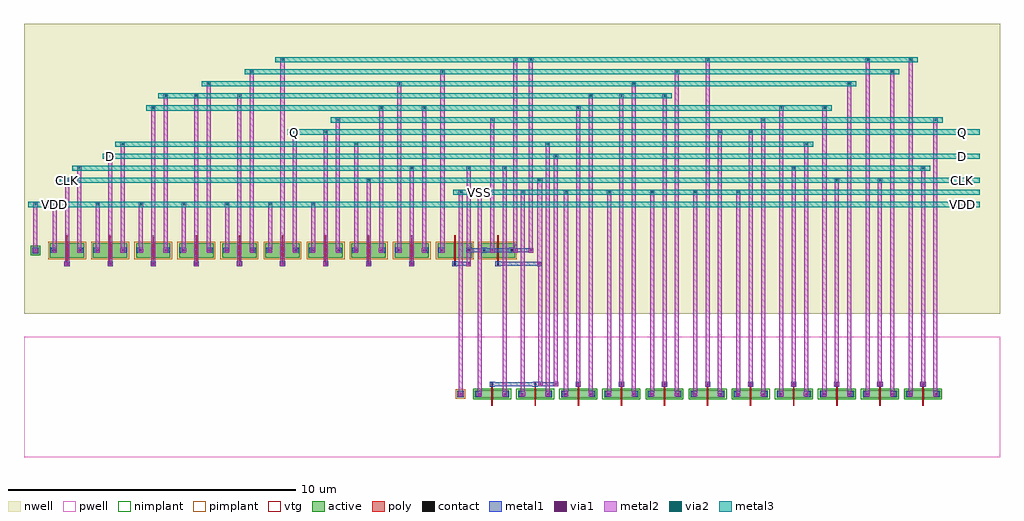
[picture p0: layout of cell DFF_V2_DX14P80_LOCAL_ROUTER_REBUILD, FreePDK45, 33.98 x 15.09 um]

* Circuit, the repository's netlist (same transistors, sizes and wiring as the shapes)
* cell DFF_V2_DX14P80_LOCAL_ROUTER_REBUILD
* pin CLK,D
* pin Q
* pin VDD
* pin VSS
.SUBCKT DFF_V2_DX14P80_LOCAL_ROUTER_REBUILD 1 8 10 11
* net 1 CLK,D
* net 8 Q
* net 10 VDD
* net 11 VSS
* device instance $1 r0 *1 16.2,7 PMOS_VTG
M$1 9 1 9 10 PMOS_VTG L=0.05U W=0.5U AS=0.2875P AD=0.2875P PS=2.15U PD=2.15U
* device instance $2 r0 *1 14.7,7 PMOS_VTG
M$2 9 3 6 10 PMOS_VTG L=0.05U W=0.5U AS=0.2875P AD=0.2875P PS=2.15U PD=2.15U
* device instance $3 r0 *1 13.2,7 PMOS_VTG
M$3 2 3 5 10 PMOS_VTG L=0.05U W=0.5U AS=0.2875P AD=0.2875P PS=2.15U PD=2.15U
* device instance $4 r0 *1 11.7,7 PMOS_VTG
M$4 2 1 7 10 PMOS_VTG L=0.05U W=0.5U AS=0.2875P AD=0.2875P PS=2.15U PD=2.15U
* device instance $5 r0 *1 10.2,7 PMOS_VTG
M$5 9 8 10 10 PMOS_VTG L=0.05U W=0.5U AS=0.2875P AD=0.2875P PS=2.15U PD=2.15U
* device instance $6 r0 *1 2.7,7 PMOS_VTG
M$6 7 1 10 10 PMOS_VTG L=0.05U W=0.5U AS=0.2875P AD=0.2875P PS=2.15U PD=2.15U
* device instance $7 r0 *1 1.2,7 PMOS_VTG
M$7 3 1 10 10 PMOS_VTG L=0.05U W=0.5U AS=0.2875P AD=0.2875P PS=2.15U PD=2.15U
* device instance $8 r0 *1 8.7,7 PMOS_VTG
M$8 8 9 10 10 PMOS_VTG L=0.05U W=0.5U AS=0.2875P AD=0.2875P PS=2.15U PD=2.15U
* device instance $9 r0 *1 4.2,7 PMOS_VTG
M$9 4 2 10 10 PMOS_VTG L=0.05U W=0.5U AS=0.2875P AD=0.2875P PS=2.15U PD=2.15U
* device instance $10 r0 *1 7.2,7 PMOS_VTG
M$10 6 4 10 10 PMOS_VTG L=0.05U W=0.5U AS=0.2875P AD=0.2875P PS=2.15U PD=2.15U
* device instance $11 r0 *1 5.7,7 PMOS_VTG
M$11 5 4 10 10 PMOS_VTG L=0.05U W=0.5U AS=0.2875P AD=0.2875P PS=2.15U PD=2.15U
* device instance $12 r0 *1 29.5,2 NMOS_VTG
M$12 6 1 9 11 NMOS_VTG L=0.05U W=0.25U AS=0.14375P AD=0.14375P PS=1.65U PD=1.65U
* device instance $13 r0 *1 26.5,2 NMOS_VTG
M$13 7 3 2 11 NMOS_VTG L=0.05U W=0.25U AS=0.14375P AD=0.14375P PS=1.65U PD=1.65U
* device instance $14 r0 *1 25,2 NMOS_VTG
M$14 9 8 11 11 NMOS_VTG L=0.05U W=0.25U AS=0.14375P AD=0.14375P PS=1.65U
+ PD=1.65U
* device instance $15 r0 *1 19,2 NMOS_VTG
M$15 4 2 11 11 NMOS_VTG L=0.05U W=0.25U AS=0.14375P AD=0.14375P PS=1.65U
+ PD=1.65U
* device instance $16 r0 *1 16,2 NMOS_VTG
M$16 3 1 11 11 NMOS_VTG L=0.05U W=0.25U AS=0.14375P AD=0.14375P PS=1.65U
+ PD=1.65U
* device instance $17 r0 *1 28,2 NMOS_VTG
M$17 5 1 2 11 NMOS_VTG L=0.05U W=0.25U AS=0.14375P AD=0.14375P PS=1.65U PD=1.65U
* device instance $18 r0 *1 17.5,2 NMOS_VTG
M$18 7 1 11 11 NMOS_VTG L=0.05U W=0.25U AS=0.14375P AD=0.14375P PS=1.65U
+ PD=1.65U
* device instance $19 r0 *1 31,2 NMOS_VTG
M$19 9 3 9 11 NMOS_VTG L=0.05U W=0.25U AS=0.14375P AD=0.14375P PS=1.65U PD=1.65U
* device instance $20 r0 *1 20.5,2 NMOS_VTG
M$20 5 4 11 11 NMOS_VTG L=0.05U W=0.25U AS=0.14375P AD=0.14375P PS=1.65U
+ PD=1.65U
* device instance $21 r0 *1 22,2 NMOS_VTG
M$21 6 4 11 11 NMOS_VTG L=0.05U W=0.25U AS=0.14375P AD=0.14375P PS=1.65U
+ PD=1.65U
* device instance $22 r0 *1 23.5,2 NMOS_VTG
M$22 8 9 11 11 NMOS_VTG L=0.05U W=0.25U AS=0.14375P AD=0.14375P PS=1.65U
+ PD=1.65U
.ENDS DFF_V2_DX14P80_LOCAL_ROUTER_REBUILD

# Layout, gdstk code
import gdstk
lib = gdstk.Library(unit=1e-6, precision=5e-10)
def R(c, l, rs):  # rectangles x0, y0, x1, y1
    for r in rs: c.add(gdstk.rectangle(r[:2], r[2:], *l))
def A(c, l, x, y, w, h, nx, ny, dx, dy):  # array of equal rectangles
    R(c, l, [(x+i*dx, y+j*dy, x+i*dx+w, y+j*dy+h) for i in range(nx) for j in range(ny)])
active = (1, 0)
pwell = (2, 0)
nwell = (3, 0)
nimplant = (4, 0)
pimplant = (5, 0)
vtg = (6, 0)
poly = (9, 0)
contact = (10, 0)
metal1 = (11, 0)
via1 = (12, 0)
metal2 = (13, 0)
via2 = (14, 0)
metal3 = (15, 0)

dff_v2_dx14p80_local_rou = lib.new_cell('DFF_V2_DX14P80_LOCAL_ROUTER_REBUILD')
A(dff_v2_dx14p80_local_rou, active, 15.4, 1.875, 1.2, 0.25, 11, 1, 1.5, 0)
A(dff_v2_dx14p80_local_rou, active, 0.6, 6.75, 1.2, 0.5, 11, 1, 1.5, 0)
R(dff_v2_dx14p80_local_rou, active, [(14.79,1.89,15.01,2.11), (-0.01,6.89,0.21,7.11)])
R(dff_v2_dx14p80_local_rou, pwell, [(-0.3,-0.2,33.68,4)])
R(dff_v2_dx14p80_local_rou, nwell, [(-0.3,4.8,33.68,14.89)])
A(dff_v2_dx14p80_local_rou, nimplant, 15.34, 1.815, 1.32, 0.37, 11, 1, 1.5, 0)
R(dff_v2_dx14p80_local_rou, nimplant, [(-0.06,6.84,0.26,7.16)])
A(dff_v2_dx14p80_local_rou, pimplant, 0.54, 6.69, 1.32, 0.62, 11, 1, 1.5, 0)
R(dff_v2_dx14p80_local_rou, pimplant, [(14.74,1.84,15.06,2.16)])
A(dff_v2_dx14p80_local_rou, vtg, 15.965, 1.845, 0.07, 0.31, 11, 1, 1.5, 0)
A(dff_v2_dx14p80_local_rou, vtg, 1.165, 6.72, 0.07, 0.56, 11, 1, 1.5, 0)
A(dff_v2_dx14p80_local_rou, poly, 15.975, 1.595, 0.05, 0.81, 11, 1, 1.5, 0)
A(dff_v2_dx14p80_local_rou, poly, 1.175, 6.47, 0.05, 1.06, 11, 1, 1.5, 0)
A(dff_v2_dx14p80_local_rou, contact, 15.97, 2.315, 0.065, 0.065, 11, 1, 1.5, 0)
A(dff_v2_dx14p80_local_rou, contact, 1.17, 6.5, 0.065, 0.065, 11, 1, 1.5, 0)
R(dff_v2_dx14p80_local_rou, contact, [(14.87,1.97,14.935,2.035), (15.49,1.97,15.555,2.035), (16.45,1.97,16.515,2.035), (16.99,1.97,17.055,2.035), (17.95,1.97,18.015,2.035), (18.49,1.97,18.555,2.035), (19.45,1.97,19.515,2.035), (19.99,1.97,20.055,2.035), (20.95,1.97,21.015,2.035), (21.49,1.97,21.555,2.035), (22.45,1.97,22.515,2.035), (22.99,1.97,23.055,2.035), (23.95,1.97,24.015,2.035), (24.49,1.97,24.555,2.035), (25.45,1.97,25.515,2.035), (25.99,1.97,26.055,2.035), (26.95,1.97,27.015,2.035), (27.49,1.97,27.555,2.035), (28.45,1.97,28.515,2.035), (28.99,1.97,29.055,2.035), (29.95,1.97,30.015,2.035), (30.49,1.97,30.555,2.035), (31.45,1.97,31.515,2.035), (0.07,6.97,0.135,7.035), (0.69,6.97,0.755,7.035), (1.65,6.97,1.715,7.035), (2.19,6.97,2.255,7.035), (3.15,6.97,3.215,7.035), (3.69,6.97,3.755,7.035), (4.65,6.97,4.715,7.035), (5.19,6.97,5.255,7.035), (6.15,6.97,6.215,7.035), (6.69,6.97,6.755,7.035), (7.65,6.97,7.715,7.035), (8.19,6.97,8.255,7.035), (9.15,6.97,9.215,7.035), (9.69,6.97,9.755,7.035), (10.65,6.97,10.715,7.035), (11.19,6.97,11.255,7.035), (12.15,6.97,12.215,7.035), (12.69,6.97,12.755,7.035), (13.65,6.97,13.715,7.035), (14.19,6.97,14.255,7.035), (15.15,6.97,15.215,7.035), (15.69,6.97,15.755,7.035), (16.65,6.97,16.715,7.035)])
A(dff_v2_dx14p80_local_rou, metal1, 15.91, 2.255, 0.18, 0.18, 11, 1, 1.5, 0)
A(dff_v2_dx14p80_local_rou, metal1, 18.925, 2.27, 0.15, 0.15, 9, 1, 1.5, 0)
A(dff_v2_dx14p80_local_rou, metal1, 1.11, 6.44, 0.18, 0.18, 11, 1, 1.5, 0)
A(dff_v2_dx14p80_local_rou, metal1, 1.125, 6.455, 0.15, 0.15, 9, 1, 1.5, 0)
R(dff_v2_dx14p80_local_rou, metal1, [(14.8,1.9,15,2.1), (15.43,1.91,15.61,2.09), (16.39,1.91,16.57,2.09), (16.93,1.91,17.11,2.09), (17.89,1.91,18.07,2.09), (18.43,1.91,18.61,2.09), (19.39,1.91,19.57,2.09), (19.93,1.91,20.11,2.09), (20.89,1.91,21.07,2.09), (21.43,1.91,21.61,2.09), (22.39,1.91,22.57,2.09), (22.93,1.91,23.11,2.09), (23.89,1.91,24.07,2.09), (24.43,1.91,24.61,2.09), (25.39,1.91,25.57,2.09), (25.93,1.91,26.11,2.09), (26.89,1.91,27.07,2.09), (27.43,1.91,27.61,2.09), (28.39,1.91,28.57,2.09), (28.93,1.91,29.11,2.09), (29.89,1.91,30.07,2.09), (30.43,1.91,30.61,2.09), (31.39,1.91,31.57,2.09), (14.825,1.925,14.975,2.075), (14.825,1.925,14.975,2.075), (14.825,1.925,14.975,2.075), (14.825,1.925,14.975,2.075), (14.825,1.925,14.975,2.075), (14.825,1.925,14.975,2.075), (14.825,1.925,14.975,2.075), (14.825,1.925,14.975,2.075), (14.825,1.925,14.975,2.075), (14.825,1.925,14.975,2.075), (14.825,1.925,14.975,2.075), (14.825,1.925,14.975,2.075), (15.495,1.925,15.645,2.075), (16.355,1.925,16.505,2.075), (16.995,1.925,17.145,2.075), (17.855,1.925,18.005,2.075), (18.495,1.925,18.645,2.075), (19.355,1.925,19.505,2.075), (19.995,1.925,20.145,2.075), (20.855,1.925,21.005,2.075), (21.495,1.925,21.645,2.075), (22.355,1.925,22.505,2.075), (22.995,1.925,23.145,2.075), (23.855,1.925,24.005,2.075), (24.495,1.925,24.645,2.075), (25.355,1.925,25.505,2.075), (25.995,1.925,26.145,2.075), (26.855,1.925,27.005,2.075), (27.495,1.925,27.645,2.075), (28.355,1.925,28.505,2.075), (28.995,1.925,29.145,2.075), (29.855,1.925,30.005,2.075), (30.495,1.925,30.645,2.075), (31.355,1.925,31.505,2.075), (17.605,2.27,17.755,2.42), (18.145,2.27,18.295,2.42), (16,2.275,17.68,2.415), (17.5,2.275,18.22,2.415), (15.105,6.455,15.255,6.605), (17.565,6.455,17.715,6.605), (14.7,6.46,15.18,6.6), (16.2,6.46,17.64,6.6), (0,6.9,0.2,7.1), (0.63,6.91,0.81,7.09), (1.59,6.91,1.77,7.09), (2.13,6.91,2.31,7.09), (3.09,6.91,3.27,7.09), (3.63,6.91,3.81,7.09), (4.59,6.91,4.77,7.09), (5.13,6.91,5.31,7.09), (6.09,6.91,6.27,7.09), (6.63,6.91,6.81,7.09), (7.59,6.91,7.77,7.09), (8.13,6.91,8.31,7.09), (9.09,6.91,9.27,7.09), (9.63,6.91,9.81,7.09), (10.59,6.91,10.77,7.09), (11.13,6.91,11.31,7.09), (12.09,6.91,12.27,7.09), (12.63,6.91,12.81,7.09), (13.59,6.91,13.77,7.09), (14.13,6.91,14.31,7.09), (15.09,6.91,15.27,7.09), (15.63,6.91,15.81,7.09), (16.59,6.91,16.77,7.09), (0.025,6.925,0.175,7.075), (0.025,6.925,0.175,7.075), (0.025,6.925,0.175,7.075), (0.025,6.925,0.175,7.075), (0.025,6.925,0.175,7.075), (0.025,6.925,0.175,7.075), (0.025,6.925,0.175,7.075), (0.025,6.925,0.175,7.075), (0.025,6.925,0.175,7.075), (0.025,6.925,0.175,7.075), (0.025,6.925,0.175,7.075), (0.025,6.925,0.175,7.075), (0.695,6.925,0.845,7.075), (1.555,6.925,1.705,7.075), (2.195,6.925,2.345,7.075), (3.055,6.925,3.205,7.075), (3.695,6.925,3.845,7.075), (4.555,6.925,4.705,7.075), (5.195,6.925,5.345,7.075), (6.055,6.925,6.205,7.075), (6.695,6.925,6.845,7.075), (7.555,6.925,7.705,7.075), (8.195,6.925,8.345,7.075), (9.055,6.925,9.205,7.075), (9.695,6.925,9.845,7.075), (10.555,6.925,10.705,7.075), (11.195,6.925,11.345,7.075), (12.055,6.925,12.205,7.075), (12.695,6.925,12.845,7.075), (13.555,6.925,13.705,7.075), (14.195,6.925,14.345,7.075), (15.935,6.925,16.085,7.075), (16.735,6.925,16.885,7.075), (17.275,6.925,17.425,7.075), (15.13,6.93,16.81,7.07), (15.77,6.93,16.01,7.07), (16.63,6.93,17.35,7.07)])
A(dff_v2_dx14p80_local_rou, via1, 18.97, 2.315, 0.065, 0.065, 9, 1, 1.5, 0)
A(dff_v2_dx14p80_local_rou, via1, 1.17, 6.5, 0.065, 0.065, 9, 1, 1.5, 0)
R(dff_v2_dx14p80_local_rou, via1, [(14.87,1.97,14.935,2.035), (14.87,1.97,14.935,2.035), (14.87,1.97,14.935,2.035), (14.87,1.97,14.935,2.035), (14.87,1.97,14.935,2.035), (14.87,1.97,14.935,2.035), (14.87,1.97,14.935,2.035), (14.87,1.97,14.935,2.035), (14.87,1.97,14.935,2.035), (14.87,1.97,14.935,2.035), (14.87,1.97,14.935,2.035), (14.87,1.97,14.935,2.035), (15.54,1.97,15.605,2.035), (16.4,1.97,16.465,2.035), (17.04,1.97,17.105,2.035), (17.9,1.97,17.965,2.035), (18.54,1.97,18.605,2.035), (19.4,1.97,19.465,2.035), (20.04,1.97,20.105,2.035), (20.9,1.97,20.965,2.035), (21.54,1.97,21.605,2.035), (22.4,1.97,22.465,2.035), (23.04,1.97,23.105,2.035), (23.9,1.97,23.965,2.035), (24.54,1.97,24.605,2.035), (25.4,1.97,25.465,2.035), (26.04,1.97,26.105,2.035), (26.9,1.97,26.965,2.035), (27.54,1.97,27.605,2.035), (28.4,1.97,28.465,2.035), (29.04,1.97,29.105,2.035), (29.9,1.97,29.965,2.035), (30.54,1.97,30.605,2.035), (31.4,1.97,31.465,2.035), (17.65,2.315,17.715,2.38), (18.19,2.315,18.255,2.38), (15.15,6.5,15.215,6.565), (17.61,6.5,17.675,6.565), (0.07,6.97,0.135,7.035), (0.07,6.97,0.135,7.035), (0.07,6.97,0.135,7.035), (0.07,6.97,0.135,7.035), (0.07,6.97,0.135,7.035), (0.07,6.97,0.135,7.035), (0.07,6.97,0.135,7.035), (0.07,6.97,0.135,7.035), (0.07,6.97,0.135,7.035), (0.07,6.97,0.135,7.035), (0.07,6.97,0.135,7.035), (0.07,6.97,0.135,7.035), (0.74,6.97,0.805,7.035), (1.6,6.97,1.665,7.035), (2.24,6.97,2.305,7.035), (3.1,6.97,3.165,7.035), (3.74,6.97,3.805,7.035), (4.6,6.97,4.665,7.035), (5.24,6.97,5.305,7.035), (6.1,6.97,6.165,7.035), (6.74,6.97,6.805,7.035), (7.6,6.97,7.665,7.035), (8.24,6.97,8.305,7.035), (9.1,6.97,9.165,7.035), (9.74,6.97,9.805,7.035), (10.6,6.97,10.665,7.035), (11.24,6.97,11.305,7.035), (12.1,6.97,12.165,7.035), (12.74,6.97,12.805,7.035), (13.6,6.97,13.665,7.035), (14.24,6.97,14.305,7.035), (15.98,6.97,16.045,7.035), (16.78,6.97,16.845,7.035), (17.32,6.97,17.385,7.035)])
A(dff_v2_dx14p80_local_rou, metal2, 15.5, 2, 0.14, 7.02, 7, 1, 1.5, 0)
A(dff_v2_dx14p80_local_rou, metal2, 18.925, 2.27, 0.15, 0.15, 9, 1, 1.5, 0)
A(dff_v2_dx14p80_local_rou, metal2, 1.125, 6.455, 0.15, 0.15, 9, 1, 1.5, 0)
A(dff_v2_dx14p80_local_rou, metal2, 0.7, 7, 0.14, 1.6, 7, 1, 1.5, 0)
A(dff_v2_dx14p80_local_rou, metal2, 0.695, 8.525, 0.15, 0.15, 7, 1, 1.5, 0)
A(dff_v2_dx14p80_local_rou, metal2, 15.495, 8.945, 0.15, 0.15, 7, 1, 1.5, 0)
R(dff_v2_dx14p80_local_rou, metal2, [(14.825,1.925,14.975,2.075), (14.825,1.925,14.975,2.075), (14.825,1.925,14.975,2.075), (14.825,1.925,14.975,2.075), (14.825,1.925,14.975,2.075), (14.825,1.925,14.975,2.075), (14.825,1.925,14.975,2.075), (14.825,1.925,14.975,2.075), (14.825,1.925,14.975,2.075), (14.825,1.925,14.975,2.075), (14.825,1.925,14.975,2.075), (14.825,1.925,14.975,2.075), (15.495,1.925,15.645,2.075), (16.355,1.925,16.505,2.075), (16.995,1.925,17.145,2.075), (17.855,1.925,18.005,2.075), (18.495,1.925,18.645,2.075), (19.355,1.925,19.505,2.075), (19.995,1.925,20.145,2.075), (20.855,1.925,21.005,2.075), (21.495,1.925,21.645,2.075), (22.355,1.925,22.505,2.075), (22.995,1.925,23.145,2.075), (23.855,1.925,24.005,2.075), (24.495,1.925,24.645,2.075), (25.355,1.925,25.505,2.075), (25.995,1.925,26.145,2.075), (26.855,1.925,27.005,2.075), (27.495,1.925,27.645,2.075), (28.355,1.925,28.505,2.075), (28.995,1.925,29.145,2.075), (29.855,1.925,30.005,2.075), (30.495,1.925,30.645,2.075), (31.355,1.925,31.505,2.075), (14.83,2,14.97,9.02), (14.83,2,14.97,9.02), (14.83,2,14.97,9.02), (14.83,2,14.97,9.02), (14.83,2,14.97,9.02), (14.83,2,14.97,9.02), (14.83,2,14.97,9.02), (14.83,2,14.97,9.02), (14.83,2,14.97,9.02), (14.83,2,14.97,9.02), (14.83,2,14.97,9.02), (14.83,2,14.97,9.02), (16.36,2,16.5,9.86), (17.86,2,18,10.7), (19.36,2,19.5,12.38), (20.86,2,21,12.8), (22.36,2,22.5,13.22), (23.86,2,24,11.12), (25.36,2,25.5,11.54), (26,2,26.14,11.96), (26.86,2,27,10.7), (27.5,2,27.64,11.96), (28.36,2,28.5,12.8), (29,2,29.14,13.64), (29.86,2,30,13.22), (30.5,2,30.64,13.64), (31.36,2,31.5,11.54), (17.605,2.27,17.755,2.42), (18.145,2.27,18.295,2.42), (17.61,2.345,17.75,9.44), (18.15,2.345,18.29,10.28), (18.93,2.345,19.07,11.96), (20.43,2.345,20.57,12.38), (21.93,2.345,22.07,12.38), (23.43,2.345,23.57,13.64), (24.93,2.345,25.07,11.12), (26.43,2.345,26.57,9.86), (27.93,2.345,28.07,9.44), (29.43,2.345,29.57,9.44), (30.93,2.345,31.07,9.86), (15.105,6.455,15.255,6.605), (17.565,6.455,17.715,6.605), (1.13,6.53,1.27,9.44), (2.63,6.53,2.77,10.28), (4.13,6.53,4.27,11.96), (5.63,6.53,5.77,12.38), (7.13,6.53,7.27,12.38), (8.63,6.53,8.77,13.64), (10.13,6.53,10.27,11.12), (11.63,6.53,11.77,9.44), (13.13,6.53,13.27,9.86), (15.11,6.53,15.25,9.86), (17.57,6.53,17.71,9.44), (0.025,6.925,0.175,7.075), (0.025,6.925,0.175,7.075), (0.025,6.925,0.175,7.075), (0.025,6.925,0.175,7.075), (0.025,6.925,0.175,7.075), (0.025,6.925,0.175,7.075), (0.025,6.925,0.175,7.075), (0.025,6.925,0.175,7.075), (0.025,6.925,0.175,7.075), (0.025,6.925,0.175,7.075), (0.025,6.925,0.175,7.075), (0.025,6.925,0.175,7.075), (0.695,6.925,0.845,7.075), (1.555,6.925,1.705,7.075), (2.195,6.925,2.345,7.075), (3.055,6.925,3.205,7.075), (3.695,6.925,3.845,7.075), (4.555,6.925,4.705,7.075), (5.195,6.925,5.345,7.075), (6.055,6.925,6.205,7.075), (6.695,6.925,6.845,7.075), (7.555,6.925,7.705,7.075), (8.195,6.925,8.345,7.075), (9.055,6.925,9.205,7.075), (9.695,6.925,9.845,7.075), (10.555,6.925,10.705,7.075), (11.195,6.925,11.345,7.075), (12.055,6.925,12.205,7.075), (12.695,6.925,12.845,7.075), (13.555,6.925,13.705,7.075), (14.195,6.925,14.345,7.075), (15.935,6.925,16.085,7.075), (16.735,6.925,16.885,7.075), (17.275,6.925,17.425,7.075), (0.03,7,0.17,8.6), (0.03,7,0.17,8.6), (0.03,7,0.17,8.6), (0.03,7,0.17,8.6), (0.03,7,0.17,8.6), (0.03,7,0.17,8.6), (0.03,7,0.17,8.6), (0.03,7,0.17,8.6), (0.03,7,0.17,8.6), (0.03,7,0.17,8.6), (0.03,7,0.17,8.6), (0.03,7,0.17,8.6), (1.56,7,1.7,9.86), (3.06,7,3.2,10.7), (4.56,7,4.7,12.38), (6.06,7,6.2,12.8), (7.56,7,7.7,13.22), (9.06,7,9.2,11.12), (10.56,7,10.7,11.54), (11.2,7,11.34,10.7), (12.06,7,12.2,11.96), (12.7,7,12.84,12.8), (13.56,7,13.7,11.96), (14.2,7,14.34,13.22), (15.94,7,16.08,11.54), (16.74,7,16.88,13.64), (17.28,7,17.42,13.64), (0.025,8.525,0.175,8.675), (0.025,8.525,0.175,8.675), (0.025,8.525,0.175,8.675), (0.025,8.525,0.175,8.675), (0.025,8.525,0.175,8.675), (0.025,8.525,0.175,8.675), (0.025,8.525,0.175,8.675), (0.025,8.525,0.175,8.675), (0.025,8.525,0.175,8.675), (0.025,8.525,0.175,8.675), (0.025,8.525,0.175,8.675), (0.025,8.525,0.175,8.675), (14.825,8.945,14.975,9.095), (14.825,8.945,14.975,9.095), (14.825,8.945,14.975,9.095), (14.825,8.945,14.975,9.095), (14.825,8.945,14.975,9.095), (14.825,8.945,14.975,9.095), (14.825,8.945,14.975,9.095), (14.825,8.945,14.975,9.095), (14.825,8.945,14.975,9.095), (14.825,8.945,14.975,9.095), (14.825,8.945,14.975,9.095), (14.825,8.945,14.975,9.095), (1.125,9.365,1.275,9.515), (11.625,9.365,11.775,9.515), (17.565,9.365,17.715,9.515), (17.605,9.365,17.755,9.515), (27.925,9.365,28.075,9.515), (29.425,9.365,29.575,9.515), (1.555,9.785,1.705,9.935), (13.125,9.785,13.275,9.935), (15.105,9.785,15.255,9.935), (16.355,9.785,16.505,9.935), (26.425,9.785,26.575,9.935), (30.925,9.785,31.075,9.935), (2.625,10.205,2.775,10.355), (18.145,10.205,18.295,10.355), (3.055,10.625,3.205,10.775), (11.195,10.625,11.345,10.775), (17.855,10.625,18.005,10.775), (26.855,10.625,27.005,10.775), (9.055,11.045,9.205,11.195), (10.125,11.045,10.275,11.195), (23.855,11.045,24.005,11.195), (24.925,11.045,25.075,11.195), (10.555,11.465,10.705,11.615), (15.935,11.465,16.085,11.615), (25.355,11.465,25.505,11.615), (31.355,11.465,31.505,11.615), (4.125,11.885,4.275,12.035), (12.055,11.885,12.205,12.035), (13.555,11.885,13.705,12.035), (18.925,11.885,19.075,12.035), (25.995,11.885,26.145,12.035), (27.495,11.885,27.645,12.035), (4.555,12.305,4.705,12.455), (5.625,12.305,5.775,12.455), (7.125,12.305,7.275,12.455), (19.355,12.305,19.505,12.455), (20.425,12.305,20.575,12.455), (21.925,12.305,22.075,12.455), (6.055,12.725,6.205,12.875), (12.695,12.725,12.845,12.875), (20.855,12.725,21.005,12.875), (28.355,12.725,28.505,12.875), (7.555,13.145,7.705,13.295), (14.195,13.145,14.345,13.295), (22.355,13.145,22.505,13.295), (29.855,13.145,30.005,13.295), (8.625,13.565,8.775,13.715), (16.735,13.565,16.885,13.715), (17.275,13.565,17.425,13.715), (23.425,13.565,23.575,13.715), (28.995,13.565,29.145,13.715), (30.495,13.565,30.645,13.715)])
A(dff_v2_dx14p80_local_rou, via2, 0.74, 8.57, 0.065, 0.065, 7, 1, 1.5, 0)
A(dff_v2_dx14p80_local_rou, via2, 15.54, 8.99, 0.065, 0.065, 7, 1, 1.5, 0)
R(dff_v2_dx14p80_local_rou, via2, [(0.07,8.57,0.135,8.635), (0.07,8.57,0.135,8.635), (0.07,8.57,0.135,8.635), (0.07,8.57,0.135,8.635), (0.07,8.57,0.135,8.635), (0.07,8.57,0.135,8.635), (0.07,8.57,0.135,8.635), (0.07,8.57,0.135,8.635), (0.07,8.57,0.135,8.635), (0.07,8.57,0.135,8.635), (0.07,8.57,0.135,8.635), (0.07,8.57,0.135,8.635), (14.87,8.99,14.935,9.055), (14.87,8.99,14.935,9.055), (14.87,8.99,14.935,9.055), (14.87,8.99,14.935,9.055), (14.87,8.99,14.935,9.055), (14.87,8.99,14.935,9.055), (14.87,8.99,14.935,9.055), (14.87,8.99,14.935,9.055), (14.87,8.99,14.935,9.055), (14.87,8.99,14.935,9.055), (14.87,8.99,14.935,9.055), (14.87,8.99,14.935,9.055), (1.17,9.41,1.235,9.475), (11.67,9.41,11.735,9.475), (17.61,9.41,17.675,9.475), (17.65,9.41,17.715,9.475), (27.97,9.41,28.035,9.475), (29.47,9.41,29.535,9.475), (1.6,9.83,1.665,9.895), (13.17,9.83,13.235,9.895), (15.15,9.83,15.215,9.895), (16.4,9.83,16.465,9.895), (26.47,9.83,26.535,9.895), (30.97,9.83,31.035,9.895), (2.67,10.25,2.735,10.315), (18.19,10.25,18.255,10.315), (3.1,10.67,3.165,10.735), (11.24,10.67,11.305,10.735), (17.9,10.67,17.965,10.735), (26.9,10.67,26.965,10.735), (9.1,11.09,9.165,11.155), (10.17,11.09,10.235,11.155), (23.9,11.09,23.965,11.155), (24.97,11.09,25.035,11.155), (10.6,11.51,10.665,11.575), (15.98,11.51,16.045,11.575), (25.4,11.51,25.465,11.575), (31.4,11.51,31.465,11.575), (4.17,11.93,4.235,11.995), (12.1,11.93,12.165,11.995), (13.6,11.93,13.665,11.995), (18.97,11.93,19.035,11.995), (26.04,11.93,26.105,11.995), (27.54,11.93,27.605,11.995), (4.6,12.35,4.665,12.415), (5.67,12.35,5.735,12.415), (7.17,12.35,7.235,12.415), (19.4,12.35,19.465,12.415), (20.47,12.35,20.535,12.415), (21.97,12.35,22.035,12.415), (6.1,12.77,6.165,12.835), (12.74,12.77,12.805,12.835), (20.9,12.77,20.965,12.835), (28.4,12.77,28.465,12.835), (7.6,13.19,7.665,13.255), (14.24,13.19,14.305,13.255), (22.4,13.19,22.465,13.255), (29.9,13.19,29.965,13.255), (8.67,13.61,8.735,13.675), (16.78,13.61,16.845,13.675), (17.32,13.61,17.385,13.675), (23.47,13.61,23.535,13.675), (29.04,13.61,29.105,13.675), (30.54,13.61,30.605,13.675)])
A(dff_v2_dx14p80_local_rou, metal3, 0.695, 8.525, 0.15, 0.15, 7, 1, 1.5, 0)
A(dff_v2_dx14p80_local_rou, metal3, 15.495, 8.945, 0.15, 0.15, 7, 1, 1.5, 0)
R(dff_v2_dx14p80_local_rou, metal3, [(-0.15,8.51,10.02,8.69), (10.02,8.51,32.98,8.69), (0.025,8.525,0.175,8.675), (0.025,8.525,0.175,8.675), (0.025,8.525,0.175,8.675), (0.025,8.525,0.175,8.675), (0.025,8.525,0.175,8.675), (0.025,8.525,0.175,8.675), (0.025,8.525,0.175,8.675), (0.025,8.525,0.175,8.675), (0.025,8.525,0.175,8.675), (0.025,8.525,0.175,8.675), (0.025,8.525,0.175,8.675), (0.025,8.525,0.175,8.675), (14.65,8.93,24.82,9.11), (24.82,8.93,32.98,9.11), (14.825,8.945,14.975,9.095), (14.825,8.945,14.975,9.095), (14.825,8.945,14.975,9.095), (14.825,8.945,14.975,9.095), (14.825,8.945,14.975,9.095), (14.825,8.945,14.975,9.095), (14.825,8.945,14.975,9.095), (14.825,8.945,14.975,9.095), (14.825,8.945,14.975,9.095), (14.825,8.945,14.975,9.095), (14.825,8.945,14.975,9.095), (14.825,8.945,14.975,9.095), (0.95,9.35,29.75,9.53), (29.75,9.35,32.98,9.53), (1.125,9.365,1.275,9.515), (11.625,9.365,11.775,9.515), (17.565,9.365,17.715,9.515), (17.605,9.365,17.755,9.515), (27.925,9.365,28.075,9.515), (29.425,9.365,29.575,9.515), (1.38,9.77,31.25,9.95), (1.555,9.785,1.705,9.935), (13.125,9.785,13.275,9.935), (15.105,9.785,15.255,9.935), (16.355,9.785,16.505,9.935), (26.425,9.785,26.575,9.935), (30.925,9.785,31.075,9.935), (2.45,10.19,18.47,10.37), (18.47,10.19,32.98,10.37), (2.625,10.205,2.775,10.355), (18.145,10.205,18.295,10.355), (2.88,10.61,27.18,10.79), (3.055,10.625,3.205,10.775), (11.195,10.625,11.345,10.775), (17.855,10.625,18.005,10.775), (26.855,10.625,27.005,10.775), (8.88,11.03,25.25,11.21), (25.25,11.03,32.98,11.21), (9.055,11.045,9.205,11.195), (10.125,11.045,10.275,11.195), (23.855,11.045,24.005,11.195), (24.925,11.045,25.075,11.195), (10.38,11.45,31.68,11.63), (10.555,11.465,10.705,11.615), (15.935,11.465,16.085,11.615), (25.355,11.465,25.505,11.615), (31.355,11.465,31.505,11.615), (3.95,11.87,27.82,12.05), (4.125,11.885,4.275,12.035), (12.055,11.885,12.205,12.035), (13.555,11.885,13.705,12.035), (18.925,11.885,19.075,12.035), (25.995,11.885,26.145,12.035), (27.495,11.885,27.645,12.035), (4.38,12.29,22.25,12.47), (4.555,12.305,4.705,12.455), (5.625,12.305,5.775,12.455), (7.125,12.305,7.275,12.455), (19.355,12.305,19.505,12.455), (20.425,12.305,20.575,12.455), (21.925,12.305,22.075,12.455), (5.88,12.71,28.68,12.89), (6.055,12.725,6.205,12.875), (12.695,12.725,12.845,12.875), (20.855,12.725,21.005,12.875), (28.355,12.725,28.505,12.875), (7.38,13.13,30.18,13.31), (7.555,13.145,7.705,13.295), (14.195,13.145,14.345,13.295), (22.355,13.145,22.505,13.295), (29.855,13.145,30.005,13.295), (8.45,13.55,30.82,13.73), (8.625,13.565,8.775,13.715), (16.735,13.565,16.885,13.715), (17.275,13.565,17.425,13.715), (23.425,13.565,23.575,13.715), (28.995,13.565,29.145,13.715), (30.495,13.565,30.645,13.715)])
dff_v2_dx14p80_local_rou.add(gdstk.Label('VDD', (32.38,8.6), layer=15, texttype=0))
dff_v2_dx14p80_local_rou.add(gdstk.Label('VDD', (32.38,8.6), layer=15, texttype=1))
dff_v2_dx14p80_local_rou.add(gdstk.Label('VDD', (32.38,8.6), layer=15, texttype=2))
dff_v2_dx14p80_local_rou.add(gdstk.Label('VDD', (0.77,8.6), layer=13, texttype=0))
dff_v2_dx14p80_local_rou.add(gdstk.Label('VDD', (0.77,8.6), layer=13, texttype=1))
dff_v2_dx14p80_local_rou.add(gdstk.Label('VDD', (0.77,8.6), layer=13, texttype=2))
dff_v2_dx14p80_local_rou.add(gdstk.Label('VSS', (32.38,9.02), layer=15, texttype=0))
dff_v2_dx14p80_local_rou.add(gdstk.Label('VSS', (32.38,9.02), layer=15, texttype=1))
dff_v2_dx14p80_local_rou.add(gdstk.Label('VSS', (32.38,9.02), layer=15, texttype=2))
dff_v2_dx14p80_local_rou.add(gdstk.Label('VSS', (15.57,9.02), layer=13, texttype=0))
dff_v2_dx14p80_local_rou.add(gdstk.Label('VSS', (15.57,9.02), layer=13, texttype=1))
dff_v2_dx14p80_local_rou.add(gdstk.Label('VSS', (15.57,9.02), layer=13, texttype=2))
dff_v2_dx14p80_local_rou.add(gdstk.Label('D', (32.38,10.28), layer=15, texttype=0))
dff_v2_dx14p80_local_rou.add(gdstk.Label('D', (32.38,10.28), layer=15, texttype=1))
dff_v2_dx14p80_local_rou.add(gdstk.Label('D', (32.38,10.28), layer=15, texttype=2))
dff_v2_dx14p80_local_rou.add(gdstk.Label('D', (2.7,10.28), layer=13, texttype=0))
dff_v2_dx14p80_local_rou.add(gdstk.Label('D', (2.7,10.28), layer=13, texttype=1))
dff_v2_dx14p80_local_rou.add(gdstk.Label('D', (2.7,10.28), layer=13, texttype=2))
dff_v2_dx14p80_local_rou.add(gdstk.Label('Q', (32.38,11.12), layer=15, texttype=0))
dff_v2_dx14p80_local_rou.add(gdstk.Label('Q', (32.38,11.12), layer=15, texttype=1))
dff_v2_dx14p80_local_rou.add(gdstk.Label('Q', (32.38,11.12), layer=15, texttype=2))
dff_v2_dx14p80_local_rou.add(gdstk.Label('Q', (9.13,11.12), layer=13, texttype=0))
dff_v2_dx14p80_local_rou.add(gdstk.Label('Q', (9.13,11.12), layer=13, texttype=1))
dff_v2_dx14p80_local_rou.add(gdstk.Label('Q', (9.13,11.12), layer=13, texttype=2))
dff_v2_dx14p80_local_rou.add(gdstk.Label('CLK', (32.38,9.44), layer=15, texttype=0))
dff_v2_dx14p80_local_rou.add(gdstk.Label('CLK', (32.38,9.44), layer=15, texttype=1))
dff_v2_dx14p80_local_rou.add(gdstk.Label('CLK', (32.38,9.44), layer=15, texttype=2))
dff_v2_dx14p80_local_rou.add(gdstk.Label('CLK', (1.2,9.44), layer=13, texttype=0))
dff_v2_dx14p80_local_rou.add(gdstk.Label('CLK', (1.2,9.44), layer=13, texttype=1))
dff_v2_dx14p80_local_rou.add(gdstk.Label('CLK', (1.2,9.44), layer=13, texttype=2))

lib.write_gds('DFF_V2_DX14P80_LOCAL_ROUTER_REBUILD.gds')
